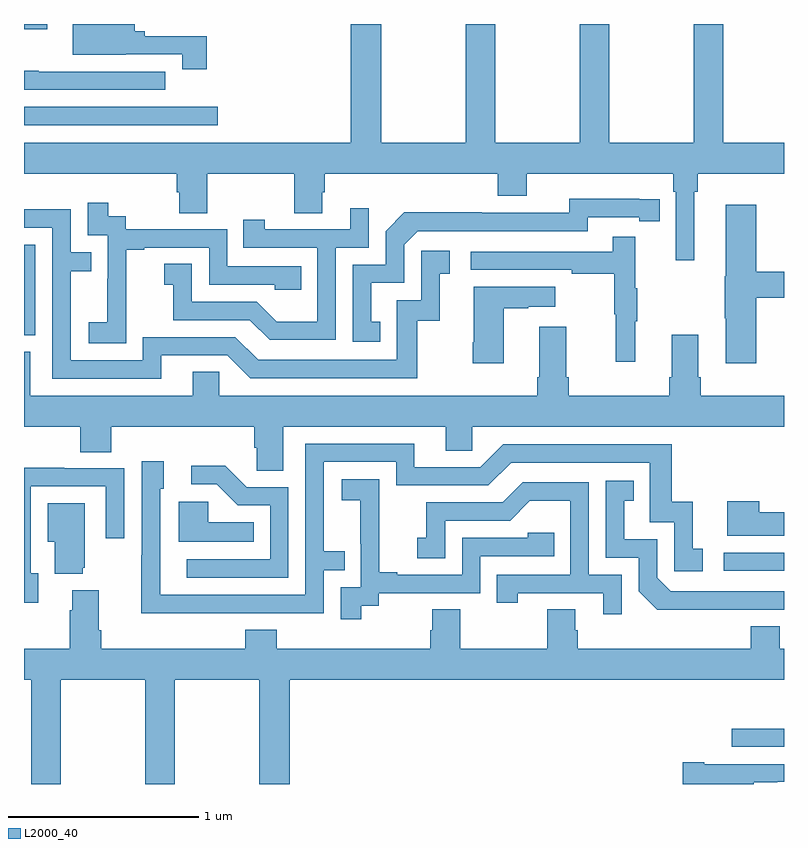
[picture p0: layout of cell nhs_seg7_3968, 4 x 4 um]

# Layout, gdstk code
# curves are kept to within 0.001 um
import gdstk
lib = gdstk.Library(unit=1e-6, precision=1e-09)
def R(c, l, rs):  # rectangles x0, y0, x1, y1
    for r in rs: c.add(gdstk.rectangle(r[:2], r[2:], *l))
def P(c, l, *ps):  # polygons
    for p in ps: c.add(gdstk.Polygon(p, *l))
L2000_40 = (2000, 40)

nhs_seg7_3968 = lib.new_cell('nhs_seg7_3968')
R(nhs_seg7_3968, L2000_40, [(364.725,1068.195,365,1068.291), (364.683,1069.122,365,1069.218), (361,1070.361,361.059,1070.838), (361,1071.468,362.02,1071.564), (361,1071.972,361.123,1072)])
P(nhs_seg7_3968, L2000_40, [(364.418,1071.116),(364.431,1071.116),(364.431,1070.757),(364.528,1070.757),(364.528,1071.116),(364.547,1071.116),(364.547,1071.212),(365,1071.212),(365,1071.376),(364.68,1071.376),(364.68,1072),(364.525,1072),(364.525,1071.376),(364.08,1071.376),(364.08,1072),(363.925,1072),(363.925,1071.376),(363.48,1071.376),(363.48,1072),(363.325,1072),(363.325,1071.376),(362.88,1071.376),(362.88,1072),(362.72,1072),(362.72,1071.376),(361,1071.376),(361,1071.212),(361.805,1071.212),(361.805,1071.114),(361.817,1071.114),(361.817,1071.004),(361.965,1071.004),(361.965,1071.212),(362.422,1071.212),(362.422,1071.004),(362.569,1071.004),(362.569,1071.114),(362.582,1071.114),(362.582,1071.212),(363.494,1071.212),(363.494,1071.095),(363.646,1071.095),(363.646,1071.212),(364.418,1071.212)],
  [(361.963,1071.936),(361.635,1071.936),(361.635,1071.961),(361.582,1071.961),(361.582,1072),(361.256,1072),(361.256,1071.839),(361.535,1071.839),(361.535,1071.84),(361.832,1071.84),(361.832,1071.762),(361.963,1071.762)],
  [(361.744,1071.75),(361.078,1071.75),(361.078,1071.753),(361,1071.753),(361,1071.654),(361.744,1071.654)],
  [(362.876,1070.433),(362.827,1070.433),(362.827,1070.637),(363,1070.637),(363,1070.838),(363.072,1070.91),(363.966,1070.91),(363.966,1070.982),(364.238,1070.982),(364.238,1070.962),(364.346,1070.962),(364.346,1071.078),(363.87,1071.079),(363.87,1071.006),(363.41,1071.006),(363.41,1071.008),(363.002,1071.008),(362.904,1070.91),(362.904,1070.733),(362.73,1070.733),(362.73,1070.328),(362.876,1070.328)],
  [(361.539,1070.527),(361.538,1070.527),(361.538,1070.811),(361.633,1070.811),(361.633,1070.823),(361.974,1070.823),(361.974,1070.628),(362.319,1070.628),(362.319,1070.601),(362.459,1070.601),(362.459,1070.724),(362.07,1070.724),(362.07,1070.919),(361.536,1070.919),(361.536,1070.988),(361.444,1070.988),(361.444,1071.058),(361.335,1071.058),(361.335,1070.889),(361.44,1070.889),(361.44,1070.66),(361.439,1070.66),(361.439,1070.431),(361.341,1070.431),(361.341,1070.321),(361.539,1070.321)],
  [(364.853,1070.56),(365,1070.56),(365,1070.696),(364.853,1070.696),(364.853,1071.049),(364.694,1071.049),(364.694,1070.673),(364.687,1070.673),(364.687,1070.452),(364.694,1070.452),(364.694,1070.214),(364.853,1070.214)],
  [(362.64,1070.823),(362.814,1070.823),(362.814,1071.031),(362.717,1071.031),(362.717,1070.919),(362.266,1070.919),(362.266,1070.971),(362.155,1070.971),(362.155,1070.823),(362.544,1070.823),(362.544,1070.434),(362.33,1070.434),(362.226,1070.538),(361.884,1070.538),(361.884,1070.737),(361.737,1070.737),(361.737,1070.627),(361.786,1070.627),(361.786,1070.442),(362.189,1070.442),(362.294,1070.337),(362.64,1070.337)],
  [(361.723,1070.256),(362.07,1070.256),(362.19,1070.136),(363.07,1070.136),(363.07,1070.439),(363.188,1070.439),(363.188,1070.685),(363.241,1070.685),(363.241,1070.806),(363.09,1070.806),(363.09,1070.547),(362.961,1070.547),(362.961,1070.232),(362.232,1070.232),(362.112,1070.352),(361.626,1070.352),(361.626,1070.229),(361.245,1070.229),(361.245,1070.698),(361.355,1070.698),(361.355,1070.799),(361.245,1070.799),(361.245,1071.024),(361,1071.024),(361,1070.928),(361.149,1070.928),(361.149,1070.133),(361.723,1070.133)],
  [(364.217,1070.435),(364.228,1070.435),(364.228,1070.609),(364.217,1070.609),(364.217,1070.881),(364.099,1070.881),(364.099,1070.802),(363.351,1070.802),(363.351,1070.706),(363.883,1070.706),(363.883,1070.686),(364.107,1070.686),(364.107,1070.472),(364.114,1070.472),(364.114,1070.223),(364.217,1070.223)],
  [(363.526,1070.503),(363.653,1070.503),(363.653,1070.513),(363.796,1070.513),(363.796,1070.617),(363.368,1070.617),(363.368,1070.326),(363.361,1070.326),(363.361,1070.214),(363.526,1070.214)],
  [(362.365,1069.88),(363.221,1069.88),(363.221,1069.753),(363.36,1069.753),(363.36,1069.88),(365,1069.88),(365,1070.044),(364.562,1070.044),(364.562,1070.14),(364.549,1070.14),(364.549,1070.365),(364.409,1070.365),(364.409,1070.14),(364.397,1070.14),(364.397,1070.044),(363.866,1070.044),(363.866,1070.14),(363.853,1070.14),(363.853,1070.407),(363.713,1070.407),(363.713,1070.14),(363.701,1070.14),(363.701,1070.044),(362.028,1070.044),(362.028,1070.171),(361.889,1070.171),(361.889,1070.044),(361.033,1070.044),(361.033,1070.276),(361,1070.276),(361,1069.88),(361.295,1069.88),(361.295,1069.747),(361.46,1069.747),(361.46,1069.88),(362.213,1069.88),(362.213,1069.771),(362.226,1069.771),(362.226,1069.648),(362.365,1069.648)],
  [(362.081,1068.9),(362.577,1068.9),(362.577,1069.125),(362.687,1069.125),(362.687,1069.226),(362.577,1069.226),(362.577,1069.695),(362.958,1069.695),(362.958,1069.572),(363.444,1069.572),(363.564,1069.692),(364.293,1069.692),(364.293,1069.377),(364.422,1069.377),(364.422,1069.119),(364.573,1069.119),(364.573,1069.239),(364.52,1069.239),(364.52,1069.486),(364.409,1069.486),(364.409,1069.788),(363.522,1069.788),(363.402,1069.668),(363.055,1069.668),(363.055,1069.791),(362.481,1069.791),(362.481,1068.996),(361.717,1068.996),(361.716,1069.554),(361.735,1069.554),(361.735,1069.699),(361.62,1069.699),(361.62,1069.205),(361.618,1069.205),(361.618,1068.899)],
  [(362.391,1069.563),(362.172,1069.563),(362.059,1069.676),(361.881,1069.676),(361.881,1069.578),(362.015,1069.578),(362.126,1069.467),(362.295,1069.467),(362.295,1069.182),(361.857,1069.182),(361.857,1069.086),(362.391,1069.086)],
  [(361.075,1069.11),(361.035,1069.11),(361.035,1069.566),(361.431,1069.566),(361.431,1069.293),(361.527,1069.293),(361.527,1069.662),(361.211,1069.662),(361.211,1069.664),(361,1069.664),(361,1068.954),(361.075,1068.954)],
  [(362.776,1068.937),(362.868,1068.937),(362.868,1069.005),(363.402,1069.005),(363.402,1069.2),(363.791,1069.2),(363.791,1069.323),(363.651,1069.323),(363.651,1069.296),(363.306,1069.296),(363.306,1069.101),(362.965,1069.101),(362.965,1069.114),(362.87,1069.114),(362.87,1069.397),(362.871,1069.397),(362.871,1069.603),(362.673,1069.603),(362.673,1069.493),(362.771,1069.493),(362.771,1069.265),(362.772,1069.265),(362.772,1069.035),(362.667,1069.035),(362.667,1068.867),(362.776,1068.867)],
  [(364.742,1068.918),(365,1068.918),(365,1069.014),(364.404,1069.014),(364.332,1069.086),(364.332,1069.287),(364.159,1069.287),(364.159,1069.491),(364.208,1069.491),(364.208,1069.597),(364.062,1069.597),(364.062,1069.191),(364.236,1069.191),(364.236,1069.014),(364.245,1069.005),(364.334,1068.917)],
  [(363.598,1068.954),(363.598,1069.005),(364.049,1069.005),(364.049,1068.894),(364.146,1068.894),(364.146,1069.101),(363.972,1069.101),(363.972,1069.587),(363.626,1069.587),(363.521,1069.482),(363.118,1069.482),(363.118,1069.297),(363.069,1069.297),(363.069,1069.188),(363.216,1069.188),(363.216,1069.386),(363.558,1069.386),(363.662,1069.49),(363.876,1069.49),(363.876,1069.101),(363.487,1069.101),(363.487,1068.954)],
  [(365,1069.429),(364.871,1069.429),(364.871,1069.489),(364.7,1069.489),(364.7,1069.307),(365,1069.307)],
  [(362.21,1069.378),(361.971,1069.378),(361.971,1069.486),(361.814,1069.486),(361.814,1069.274),(362.21,1069.274)],
  [(361.31,1069.137),(361.321,1069.137),(361.321,1069.477),(361.124,1069.477),(361.124,1069.274),(361.163,1069.274),(361.163,1069.106),(361.31,1069.106)],
  [(361,1068.548),(361.039,1068.548),(361.039,1068),(361.194,1068),(361.194,1068.548),(361.639,1068.548),(361.639,1068),(361.794,1068),(361.794,1068.548),(362.239,1068.548),(362.239,1068),(362.399,1068),(362.399,1068.548),(365,1068.548),(365,1068.712),(364.978,1068.712),(364.978,1068.829),(364.826,1068.829),(364.826,1068.712),(363.914,1068.712),(363.914,1068.81),(363.901,1068.81),(363.901,1068.92),(363.754,1068.92),(363.754,1068.712),(363.297,1068.712),(363.297,1068.92),(363.149,1068.92),(363.149,1068.81),(363.137,1068.81),(363.137,1068.712),(362.33,1068.712),(362.33,1068.811),(362.165,1068.811),(362.165,1068.712),(361.406,1068.712),(361.406,1068.808),(361.393,1068.808),(361.393,1069.021),(361.253,1069.021),(361.253,1068.914),(361.241,1068.914),(361.241,1068.712),(361,1068.712)],
  [(364.84,1068.009),(364.964,1068.009),(364.964,1068.012),(365,1068.012),(365,1068.105),(364.579,1068.105),(364.579,1068.114),(364.467,1068.114),(364.467,1068),(364.84,1068)])

lib.write_gds('nhs_seg7_3968.gds')
